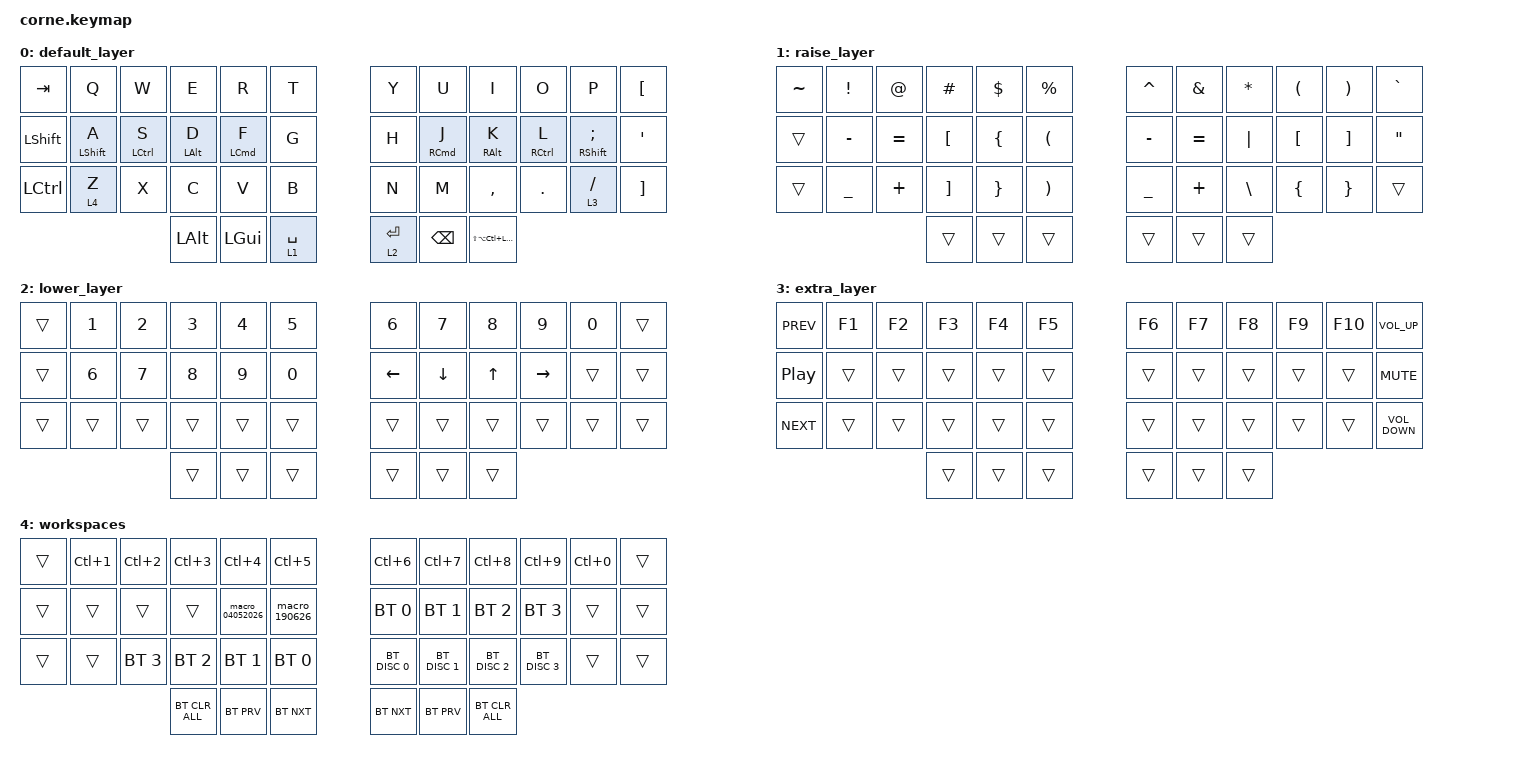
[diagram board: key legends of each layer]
/*
 * Copyright (c) 2020 The ZMK Contributors
 *
 * SPDX-License-Identifier: MIT
 */

#include <behaviors.dtsi>
#include <dt-bindings/zmk/bt.h>
#include <dt-bindings/zmk/keys.h>

/ {
    combos {
        compatible = "zmk,combos";

        combo_esc {
            timeout-ms = <50>;
            key-positions = <0 1>;
            bindings = <&kp ESCAPE>;
        };

        lpar {
            bindings = <&kp LEFT_PARENTHESIS>;
            key-positions = <31 32>;
        };

        rpar {
            bindings = <&kp RIGHT_PARENTHESIS>;
            key-positions = <32 33>;
        };

        lbrc {
            bindings = <&kp LEFT_BRACE>;
            key-positions = <7 8>;
        };

        rbrc {
            bindings = <&kp RIGHT_BRACE>;
            key-positions = <8 9>;
        };

        n1 {
            bindings = <&kp NUMBER_1>;
            key-positions = <1 13>;
        };

        n2 {
            bindings = <&kp NUMBER_2>;
            key-positions = <2 14>;
        };

        n3 {
            bindings = <&kp NUMBER_3>;
            key-positions = <3 15>;
        };

        n4 {
            bindings = <&kp NUMBER_4>;
            key-positions = <4 16>;
        };

        n5 {
            bindings = <&kp NUMBER_5>;
            key-positions = <5 17>;
        };

        n6 {
            bindings = <&kp NUMBER_6>;
            key-positions = <6 18>;
        };

        n7 {
            bindings = <&kp N7>;
            key-positions = <7 19>;
        };

        n8 {
            bindings = <&kp NUMBER_8>;
            key-positions = <8 20>;
        };

        n9 {
            bindings = <&kp NUMBER_9>;
            key-positions = <9 21>;
        };

        n0 {
            bindings = <&kp NUMBER_0>;
            key-positions = <10 22>;
        };
    };

    behaviors {
        ss_hs_modmorph: ss_hs_modmorph {
            compatible = "zmk,behavior-mod-morph";
            label = "SS_HS_MODMORPH";
            bindings = <&kp M>, <&kp RIGHT_BRACKET>;

            #binding-cells = <0>;
            mods = <(MOD_LSFT|MOD_RSFT)>;
        };

        kh_hs_tapdance: kh_hs_tapdance {
            compatible = "zmk,behavior-tap-dance";
            label = "KH_HS_TAPDANCE";
            #binding-cells = <0>;
            tapping-term-ms = <200>;
            bindings = <&kp LEFT_BRACKET>, <&kp RIGHT_BRACKET>;
        };

        hrm: hrm {
            compatible = "zmk,behavior-hold-tap";
            #binding-cells = <2>;
            flavor = "tap-preferred";
            tapping-term-ms = <200>;
            quick-tap-ms = <200>;
            require-prior-idle-ms = <125>;
            bindings = <&kp>, <&kp>;
        };
    };

    macros {
        new_macro_1105: new_macro_1 {
            compatible = "zmk,behavior-macro";
            #binding-cells = <0>;
            bindings = <&kp LS(R) &kp W &kp Z &kp LS(U) &kp C &kp LS(T) &kp LS(Z) &kp N2 &kp LS(X) &kp N0 &kp N0 &kp B &kp AT>;
            label = "NEW_MACRO_1";
        };

        new_macro_1605: new_macro_1605 {
            compatible = "zmk,behavior-macro";
            #binding-cells = <0>;
            bindings = <&kp N3 &kp N3 &kp G &kp BSLH &kp N9 &kp LS(U) &kp LS(W) &kp Y &kp N7 &kp LS(K) &kp LBKT &kp LS(W)>;
            label = "NEW_MACRO_1605";
        };

        new_macro_pcidss: new_macro_pcidss {
            compatible = "zmk,behavior-macro";
            #binding-cells = <0>;
            bindings = <&kp Q &kp LS(K) &kp LS(D) &kp N4 &kp O &kp LS(T) &kp LS(W) &kp E &kp MINUS &kp QMARK &kp G &kp J &kp LS(Q) &kp V &kp I>;
            label = "NEW_MACRO_PCIDSS";
        };

        new_macro_0908: new_macro_0908 {
            compatible = "zmk,behavior-macro";
            #binding-cells = <0>;
            bindings = <&kp E &kp LS(X) &kp V &kp LPAR &kp A &kp N7 &kp N0 &kp P &kp L &kp N6 &kp I &kp A &kp O &kp DOT &kp X &kp DQT>;
            label = "NEW_MACRO_0908";
        };

        macro_0910: macro_0910 {
            compatible = "zmk,behavior-macro";
            #binding-cells = <0>;
            bindings = <&kp STAR &kp N6 &kp LS(U) &kp N &kp N6 &kp LS(H) &kp LS(B) &kp LS(K) &kp N5 &kp LS(Z) &kp S &kp K>;
            label = "MACRO_0910";
        };

        v11_04_macro: v11_04_macro {
            compatible = "zmk,behavior-macro";
            #binding-cells = <0>;
            bindings = <&kp LS(O) &kp RPAR &kp X &kp LS(L) &kp LS(X) &kp LS(U) &kp N1 &kp LS(F) &kp N2 &kp LS(E) &kp RIGHT_BRACKET &kp LS(D) &kp LS(H) &kp N0 &kp V &kp LS(E)>;
            label = "V11_04_MACRO";
            tap-ms = <9>;
            wait-ms = <3>;
        };

        macro_260525: macro_260525 {
            compatible = "zmk,behavior-macro";
            #binding-cells = <0>;
            bindings = <&kp N0 &kp LS(N) &kp D &kp RBRC &kp W &kp U &kp W &kp W &kp LS(Z) &kp N6 &kp N6 &kp R &kp LS(W) &kp N7 &kp LS(Z) &kp EQUAL>;
            label = "MACRO_260525";
        };

        macro_060825: macro_060825 {
            compatible = "zmk,behavior-macro";
            #binding-cells = <0>;
            bindings = <&kp LS(N) &kp N0 &kp LS(P) &kp LS(Y) &kp N2 &kp EXCL &kp LS(Z) &kp LS(V) &kp QMARK &kp Z &kp MINUS &kp N3 &kp N5 &kp LS(F) &kp POUND>;
            label = "MACRO_060825";
        };

        new_macro_20_10_25: new_macro_20_10_25 {
            compatible = "zmk,behavior-macro";
            #binding-cells = <0>;
            bindings = <&kp G &kp D &kp V &kp F &kp POUND &kp S &kp H &kp LS(Y) &kp T &kp N7 &kp PRCNT &kp N9 &kp QMARK &kp LS(Z) &kp N8 &kp N9>;
            label = "NEW_MACRO_20_10_25";
        };

        new_macro_140126: new_macro_140126 {
            compatible = "zmk,behavior-macro";
            #binding-cells = <0>;
            bindings = <&none &kp N5 &kp RPAR &kp LS(Z) &kp N8 &kp N7 &kp LS(L) &kp LS(W) &kp LS(S) &kp D &kp N1 &kp DQT &kp FSLH &kp S &kp LS(O) &kp J &kp LS(S)>;
            label = "NEW_MACRO_140126";
        };

        macro_04052026: macro_04052026 {
            compatible = "zmk,behavior-macro";
            #binding-cells = <0>;
            bindings = <&kp N4 &kp N5 &kp LS(Q) &kp LS(D) &kp N4 &kp Z &kp DLLR &kp K &kp N5 &kp LBKT &kp LBKT &kp F &kp N8 &kp W &kp U &kp L &kp LS(S) &kp QMARK>;
            label = "MACRO_04052026";
        };

        macro_190626: macro_190626 {
            compatible = "zmk,behavior-macro";
            #binding-cells = <0>;
            bindings = <&none &kp F &kp N7 &kp QMARK &kp UNDER &kp G &kp T &kp N2 &kp LS(M) &kp LT &kp LS(M) &kp N9 &kp BSLH &kp N8 &kp LS(M) &kp PLUS &kp RBRC>;
            label = "MACRO_190626";
        };
    };

    keymap {
        compatible = "zmk,keymap";

        default_layer {
            // -----------------------------------------------------------------------------------------
            // |  TAB |  Q  |  W  |  E  |  R  |  T  |   |  Y  |  U   |  I  |  O  |  P  | BKSP |
            // | CTRL |  A  |  S  |  D  |  F  |  G  |   |  H  |  J   |  K  |  L  |  ;  |  '   |
            // | SHFT |  Z  |  X  |  C  |  V  |  B  |   |  N  |  M   |  ,  |  .  |  /  | ESC  |
            //                    | GUI | LWR | SPC |   | ENT | RSE  | ALT |

            bindings = <
&kp TAB           &kp Q              &kp W                &kp E         &kp R         &kp T          &kp Y        &kp U          &kp I                 &kp O                 &kp P                  &kp LEFT_BRACKET
&kp LEFT_SHIFT    &hrm LEFT_SHIFT A  &hrm LEFT_CONTROL S  &hrm LALT D   &hrm LCMD F   &kp G          &kp H        &hrm RCMD J    &hrm RALT K           &hrm RIGHT_CONTROL L  &hrm RIGHT_SHIFT SEMI  &kp SQT
&kp LEFT_CONTROL  &lt 4 Z            &kp X                &kp C         &kp V         &kp B          &kp N        &kp M          &kp COMMA             &kp DOT               &lt 3 SLASH            &kp RBKT
                                                          &kp LEFT_ALT  &kp LEFT_GUI  &lt 1 SPACE    &lt 2 ENTER  &kp BACKSPACE  &kp LS(LA(LC(LGUI)))
            >;
        };

        raise_layer {
            // -----------------------------------------------------------------------------------------
            // |  TAB |  !  |  @  |  #  |  $  |  %  |   |  ^  |  &  |  *  |  (  |  )  | BKSP |
            // | CTRL |     |     |     |     |     |   |  -  |  =  |  [  |  ]  |  \  |  `   |
            // | SHFT |     |     |     |     |     |   |  _  |  +  |  {  |  }  | "|" |  ~   |
            //                    | GUI |     | SPC |   | ENT |     | ALT |

            bindings = <
&kp TILDE  &kp EXCL        &kp AT     &kp HASH  &kp DLLR  &kp PRCNT    &kp CARET  &kp AMPS   &kp ASTRK  &kp LPAR  &kp RPAR  &kp GRAVE
&trans     &kp MINUS       &kp EQUAL  &kp LBKT  &kp LBRC  &kp LPAR     &kp MINUS  &kp EQUAL  &kp PIPE   &kp LBKT  &kp RBKT  &kp DQT
&trans     &kp UNDERSCORE  &kp PLUS   &kp RBKT  &kp RBRC  &kp RPAR     &kp UNDER  &kp PLUS   &kp BSLH   &kp LBRC  &kp RBRC  &trans
                                      &trans    &trans    &trans       &trans     &trans     &trans
            >;
        };

        lower_layer {
            // -----------------------------------------------------------------------------------------
            // |  TAB |  1  |  2  |  3  |  4  |  5  |   |  6  |  7  |  8  |  9  |  0  | BKSP |
            // | BTCLR| BT1 | BT2 | BT3 | BT4 | BT5 |   | LFT | DWN |  UP | RGT |     |      |
            // | SHFT |     |     |     |     |     |   |     |     |     |     |     |      |
            //                    | GUI |     | SPC |   | ENT |     | ALT |

            bindings = <
&trans  &kp N1        &kp N2        &kp N3        &kp N4        &kp N5          &kp N6    &kp N7    &kp N8  &kp N9     &kp N0  &trans
&trans  &kp NUMBER_6  &kp NUMBER_7  &kp NUMBER_8  &kp NUMBER_9  &kp NUMBER_0    &kp LEFT  &kp DOWN  &kp UP  &kp RIGHT  &trans  &trans
&trans  &trans        &trans        &trans        &trans        &trans          &trans    &trans    &trans  &trans     &trans  &trans
                                    &trans        &trans        &trans          &trans    &trans    &trans
            >;
        };

        extra_layer {
            bindings = <
&kp K_PREV        &kp F1  &kp F2  &kp F3  &kp F4  &kp F5    &kp F6  &kp F7  &kp F8  &kp F9  &kp F10  &kp K_VOLUME_UP
&kp C_PLAY_PAUSE  &trans  &trans  &trans  &trans  &trans    &trans  &trans  &trans  &trans  &trans   &kp K_MUTE
&kp C_NEXT        &trans  &trans  &trans  &trans  &trans    &trans  &trans  &trans  &trans  &trans   &kp K_VOLUME_DOWN
                                  &trans  &trans  &trans    &trans  &trans  &trans
            >;
        };

        workspaces {
            bindings = <
&trans  &kp LC(NUMBER_1)  &kp LC(NUMBER_2)  &kp LC(NUMBER_3)  &kp LC(NUMBER_4)  &kp LC(NUMBER_5)    &kp LC(NUMBER_6)  &kp LC(NUMBER_7)  &kp LC(NUMBER_8)  &kp LC(N9)     &kp LC(N0)  &trans
&trans  &trans            &trans            &trans            &macro_04052026   &macro_190626       &bt BT_SEL 0      &bt BT_SEL 1      &bt BT_SEL 2      &bt BT_SEL 3   &trans      &trans
&trans  &trans            &bt BT_SEL 3      &bt BT_SEL 2      &bt BT_SEL 1      &bt BT_SEL 0        &bt BT_DISC 0     &bt BT_DISC 1     &bt BT_DISC 2     &bt BT_DISC 3  &trans      &trans
                                            &bt BT_CLR_ALL    &bt BT_PRV        &bt BT_NXT          &bt BT_NXT        &bt BT_PRV        &bt BT_CLR_ALL
            >;
        };
    };
};
